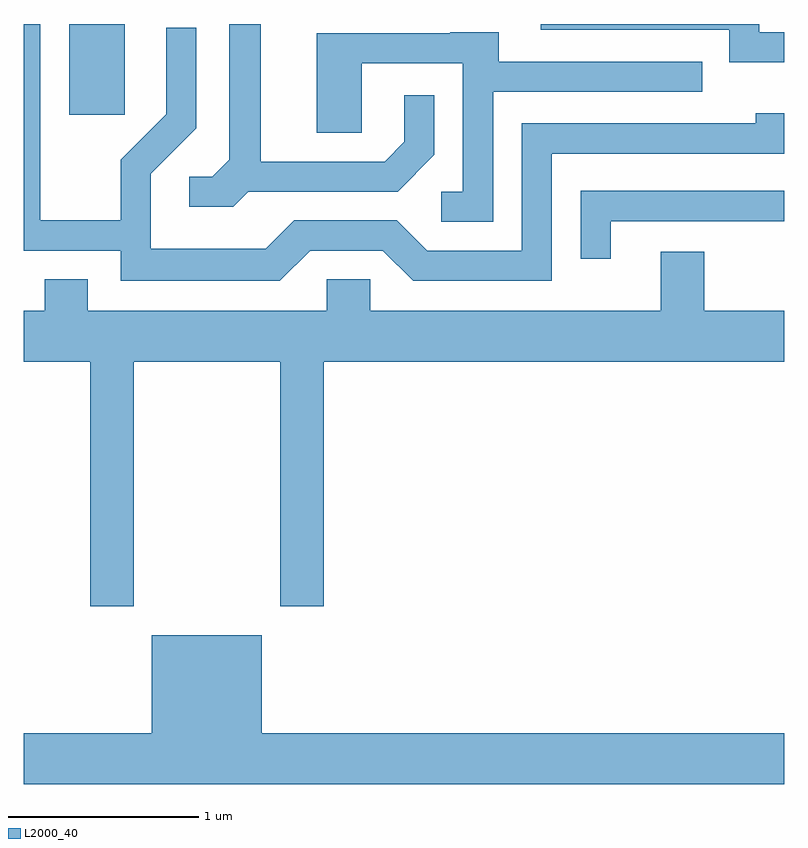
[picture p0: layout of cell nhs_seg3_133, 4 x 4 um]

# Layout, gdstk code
import gdstk
lib = gdstk.Library(unit=1e-6, precision=1e-09)
def R(c, l, rs):  # rectangles x0, y0, x1, y1
    for r in rs: c.add(gdstk.rectangle(r[:2], r[2:], *l))
def P(c, l, *ps):  # polygons
    for p in ps: c.add(gdstk.Polygon(p, *l))
L2000_40 = (2000, 40)

nhs_seg3_133 = lib.new_cell('nhs_seg3_133')
R(nhs_seg3_133, L2000_40, [(187.851,1249.416,188.144,1249.892)])
P(nhs_seg3_133, L2000_40, [(191.611,1249.849),(191.479,1249.849),(191.479,1249.892),(190.331,1249.892),(190.331,1249.861),(191.321,1249.861),(191.321,1249.691),(191.611,1249.691)],
  [(188.792,1249.011),(189.577,1249.011),(189.769,1249.204),(189.769,1249.518),(189.611,1249.518),(189.611,1249.272),(189.509,1249.169),(188.859,1249.169),(188.859,1249.892),(188.691,1249.892),(188.691,1249.177),(188.604,1249.089),(188.483,1249.089),(188.483,1248.931),(188.712,1248.931)],
  [(189.117,1248.701),(189.499,1248.701),(189.659,1248.541),(190.389,1248.541),(190.389,1249.211),(191.611,1249.211),(191.611,1249.424),(191.461,1249.424),(191.461,1249.369),(190.231,1249.369),(190.231,1248.699),(189.732,1248.699),(189.572,1248.859),(189.034,1248.859),(188.884,1248.709),(188.279,1248.709),(188.279,1249.104),(188.519,1249.344),(188.519,1249.873),(188.361,1249.873),(188.361,1249.417),(188.121,1249.177),(188.121,1248.859),(187.699,1248.859),(187.699,1249.892),(187.611,1249.892),(187.611,1248.701),(188.121,1248.701),(188.121,1248.541),(188.957,1248.541)],
  [(190.079,1249.536),(191.178,1249.536),(191.178,1249.694),(190.109,1249.694),(190.109,1249.849),(189.855,1249.849),(189.855,1249.844),(189.151,1249.844),(189.151,1249.321),(189.389,1249.321),(189.389,1249.686),(189.921,1249.686),(189.921,1249.009),(189.808,1249.009),(189.808,1248.851),(190.079,1248.851)],
  [(190.699,1248.856),(191.611,1248.856),(191.611,1249.014),(190.541,1249.014),(190.541,1248.658),(190.699,1248.658)],
  [(188.189,1248.116),(188.961,1248.116),(188.961,1246.831),(189.189,1246.831),(189.189,1248.116),(191.611,1248.116),(191.611,1248.384),(191.189,1248.384),(191.189,1248.694),(190.961,1248.694),(190.961,1248.384),(189.434,1248.384),(189.434,1248.549),(189.206,1248.549),(189.206,1248.384),(187.949,1248.384),(187.949,1248.549),(187.721,1248.549),(187.721,1248.384),(187.611,1248.384),(187.611,1248.116),(187.961,1248.116),(187.961,1246.831),(188.189,1246.831)],
  [(191.611,1246.164),(188.864,1246.164),(188.864,1246.679),(188.286,1246.679),(188.286,1246.164),(187.611,1246.164),(187.611,1245.896),(191.611,1245.896)])

lib.write_gds('nhs_seg3_133.gds')
